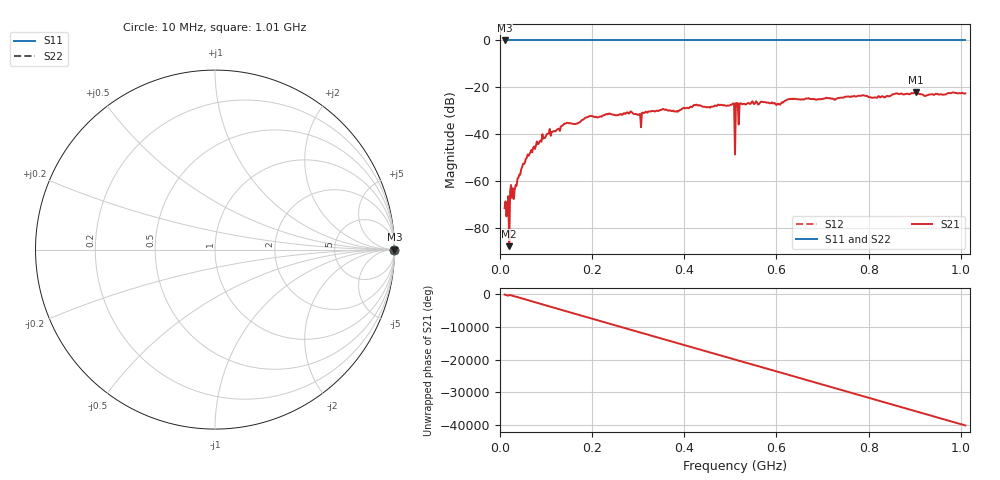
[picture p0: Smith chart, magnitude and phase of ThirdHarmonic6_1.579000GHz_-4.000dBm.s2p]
! 8/16/2025 6:47:12 PM
! C:\ANRITSUVNA\TEMP\TEMP.S2P
! CHANNEL.1
! TR.MEASUREMENT
! RAW.DATA
! RF.CORRECTION.OFF
! AVERAGING.OFF
! IF.BANDWIDTH: 5KHZ
! SWEEPTYPE:  FREQ.SWEEP(Linear)
! Reference Plane Port Info
! PORT:  PORT1  PORT2
! DISTANCE:  0  m  0  m
! TIME:  0  s  0  s
! PHASE.OFFSET:  0  deg.  0  deg.
! LOSS:  0  dB  0  dB
! REF.LOSS:  0  dB  0  dB
! REF.FREQ:  0  Hz  0  Hz
! Power Info
! POWER:  -20  dBm  -20  dBm
! EFF.POWER:  -20  dBm  -20  dBm
! SOURCE.ATTEN:  0  dB  0  dB
! TEST.ATTEN:  0  dB  0  dB
# GHZ S RI R 50.0
! FREQ.GHZ  S11RE  S11IM  S21RE  S21IM  S12RE  S12IM  S22RE  S22IM
!; PortSelection: Port_12
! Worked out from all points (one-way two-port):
!   501 points, 10 MHz to 1.01 GHz, reference 50 ohm
!   highest |S21| = -22.18 dB at 902 MHz (marker M1); lowest = -88.0 dB at 20 MHz (marker M2)
!   lowest |S11| = 0.0 dB at 10 MHz (marker M3)
!   |S11| at or under -10 dB: nowhere
!   |S22| runs from 0.0 to 0.0 dB; largest |S21 - S12| = 1.1
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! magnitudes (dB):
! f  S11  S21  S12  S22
! 10 MHz  0.0  -71.7  0.0  0.0
! 14 MHz  0.0  -75.2  0.0  0.0
! 16 MHz  0.0  -71.7  0.0  0.0
! 20 MHz  0.0  -88.0  0.0  0.0
! 52 MHz  0.0  -52.9  0.0  0.0
! 76 MHz  0.0  -46.4  0.0  0.0
! 104 MHz  0.0  -39.9  0.0  0.0
! 142 MHz  0.0  -35.6  0.0  0.0
! 178 MHz  0.0  -34.0  0.0  0.0
! 280 MHz  0.0  -31.3  0.0  0.0
! 302 MHz  0.0  -31.6  0.0  0.0
! 344 MHz  0.0  -30.2  0.0  0.0
! 504 MHz  0.0  -27.2  0.0  0.0
! 506 MHz  0.0  -27.0  0.0  0.0
! 510 MHz  0.0  -48.8  0.0  0.0
! 514 MHz  0.0  -26.8  0.0  0.0
! 516 MHz  0.0  -26.8  0.0  0.0
! 524 MHz  0.0  -27.0  0.0  0.0
! 678 MHz  0.0  -25.0  0.0  0.0
! 844 MHz  0.0  -23.9  0.0  0.0
! 902 MHz  0.0  -22.2  0.0  0.0
! 1.01 GHz  0.0  -22.6  0.0  0.0
